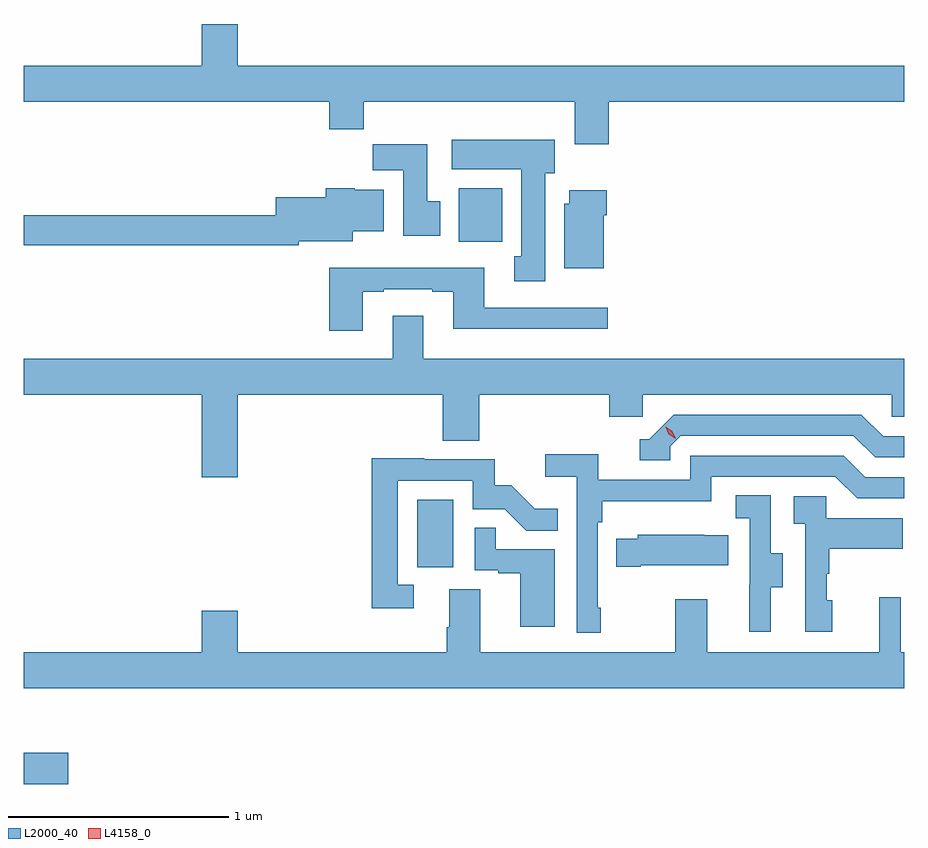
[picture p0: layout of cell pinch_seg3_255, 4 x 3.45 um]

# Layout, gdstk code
import gdstk
lib = gdstk.Library(unit=1e-6, precision=1e-09)
def R(c, l, rs):  # rectangles x0, y0, x1, y1
    for r in rs: c.add(gdstk.rectangle(r[:2], r[2:], *l))
def P(c, l, *ps):  # polygons
    for p in ps: c.add(gdstk.Polygon(p, *l))
L2000_40 = (2000, 40)
L4158_0 = (4158, 0)

pinch_seg3_255 = lib.new_cell('pinch_seg3_255')
R(pinch_seg3_255, L2000_40, [(919.443,723.125,919.645,723.267), (921.23,724.11,921.394,724.417), (921.419,725.588,921.616,725.83)])
P(pinch_seg3_255, L2000_40, [(922.1,726.224),(923.443,726.224),(923.443,726.388),(920.416,726.388),(920.416,726.577),(920.252,726.577),(920.252,726.388),(919.443,726.388),(919.443,726.224),(920.831,726.224),(920.831,726.1),(920.987,726.1),(920.987,726.224),(921.947,726.224),(921.947,726.03),(922.1,726.03)],
  [(921.811,725.898),(921.856,725.898),(921.856,726.052),(921.387,726.052),(921.387,725.918),(921.704,725.918),(921.704,725.522),(921.671,725.522),(921.671,725.409),(921.811,725.409)],
  [(921.334,725.772),(921.277,725.772),(921.277,726.031),(921.028,726.031),(921.028,725.912),(921.167,725.912),(921.167,725.616),(921.334,725.616)],
  [(920.692,725.591),(920.938,725.591),(920.938,725.636),(921.079,725.636),(921.079,725.824),(920.946,725.824),(920.946,725.83),(920.816,725.83),(920.816,725.791),(920.588,725.791),(920.588,725.708),(919.443,725.708),(919.443,725.572),(920.692,725.572)],
  [(922.078,725.708),(922.091,725.708),(922.091,725.821),(921.92,725.821),(921.92,725.76),(921.899,725.76),(921.899,725.468),(922.078,725.468)],
  [(920.983,725.361),(921.079,725.361),(921.079,725.373),(921.299,725.373),(921.299,725.361),(921.395,725.361),(921.395,725.192),(922.096,725.192),(922.096,725.289),(921.535,725.289),(921.535,725.47),(920.831,725.47),(920.831,725.184),(920.983,725.184)],
  [(920.416,724.892),(921.347,724.892),(921.347,724.684),(921.512,724.684),(921.512,724.892),(922.103,724.892),(922.103,724.794),(922.254,724.794),(922.254,724.892),(923.385,724.892),(923.385,724.794),(923.443,724.794),(923.443,725.056),(921.259,725.056),(921.259,725.251),(921.119,725.251),(921.119,725.056),(919.443,725.056),(919.443,724.892),(920.252,724.892),(920.252,724.518),(920.416,724.518)],
  [(922.38,724.659),(922.428,724.707),(923.211,724.707),(923.31,724.608),(923.443,724.608),(923.443,724.704),(923.347,724.704),(923.248,724.803),(922.395,724.803),(922.284,724.692),(922.241,724.692),(922.241,724.596),(922.38,724.596)],
  [(922.063,723.925),(922.05,723.925),(922.05,724.313),(922.07,724.313),(922.07,724.409),(922.566,724.409),(922.566,724.521),(923.13,724.521),(923.229,724.422),(923.443,724.422),(923.443,724.518),(923.266,724.518),(923.167,724.617),(922.47,724.617),(922.47,724.506),(922.052,724.506),(922.052,724.622),(921.813,724.622),(921.813,724.52),(921.954,724.52),(921.954,723.813),(922.063,723.813)],
  [(921.214,724.029),(921.141,724.029),(921.141,724.503),(921.483,724.503),(921.483,724.374),(921.627,724.374),(921.725,724.276),(921.869,724.276),(921.869,724.375),(921.765,724.375),(921.658,724.482),(921.582,724.482),(921.582,724.599),(921.263,724.599),(921.263,724.604),(921.025,724.604),(921.025,723.924),(921.214,723.924)],
  [(922.837,724.018),(922.891,724.018),(922.891,724.173),(922.836,724.173),(922.836,724.436),(922.677,724.436),(922.677,724.333),(922.74,724.333),(922.74,724.029),(922.739,724.029),(922.739,723.816),(922.837,723.816)],
  [(923.116,723.96),(923.091,723.96),(923.091,724.079),(923.101,724.079),(923.101,724.193),(923.435,724.193),(923.435,724.333),(923.088,724.333),(923.088,724.431),(922.941,724.431),(922.941,724.307),(922.992,724.307),(922.992,723.816),(923.116,723.816)],
  [(921.856,724.191),(921.587,724.191),(921.587,724.289),(921.492,724.289),(921.492,724.095),(921.599,724.095),(921.599,724.083),(921.698,724.083),(921.698,723.84),(921.856,723.84)],
  [(922.246,724.118),(922.643,724.118),(922.643,724.255),(922.535,724.255),(922.535,724.258),(922.233,724.258),(922.233,724.24),(922.135,724.24),(922.135,724.111),(922.246,724.111)],
  [(923.443,723.724),(923.427,723.724),(923.427,723.973),(923.33,723.973),(923.33,723.724),(922.549,723.724),(922.549,723.964),(922.402,723.964),(922.402,723.724),(921.517,723.724),(921.517,724.01),(921.377,724.01),(921.377,723.836),(921.365,723.836),(921.365,723.724),(920.416,723.724),(920.416,723.913),(920.252,723.913),(920.252,723.724),(919.443,723.724),(919.443,723.56),(923.443,723.56)])
P(pinch_seg3_255, L4158_0, [(922.405,724.694),(922.374,724.714),(922.359,724.746),(922.359,724.747),(922.359,724.747),(922.389,724.727),(922.405,724.694),(922.405,724.694)])

lib.write_gds('pinch_seg3_255.gds')
